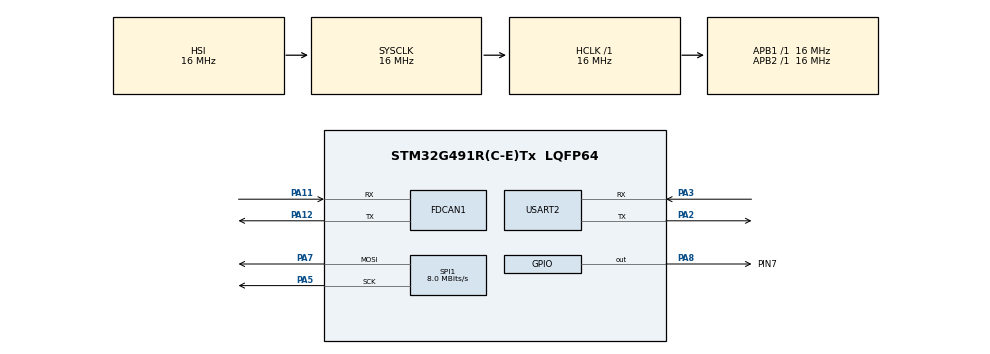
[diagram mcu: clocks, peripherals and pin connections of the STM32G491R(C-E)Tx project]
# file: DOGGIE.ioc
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FDCAN1.CalculateBaudRateNominal=250000
FDCAN1.CalculateTimeBitNominal=4000
FDCAN1.CalculateTimeQuantumNominal=250.0
FDCAN1.NominalPrescaler=4
FDCAN1.NominalTimeSeg1=13
FDCAN1.NominalTimeSeg2=2
Mcu.Family=STM32G4
Mcu.Name=STM32G491R(C-E)Tx
Mcu.Package=LQFP64
NVIC.FDCAN1_IT0_IRQn=true\:0\:0\:false\:false\:true\:true\:true\:true
NVIC.PriorityGroup=NVIC_PRIORITYGROUP_4
PA11.GPIO_PuPd=GPIO_NOPULL
PA11.Mode=FDCAN_Activate
PA11.Signal=FDCAN1_RX
PA12.Mode=FDCAN_Activate
PA12.Signal=FDCAN1_TX
PA2.Mode=Asynchronous
PA2.Signal=USART2_TX
PA3.Mode=Asynchronous
PA3.Signal=USART2_RX
PA5.Mode=TX_Only_Simplex_Unidirect_Master
PA5.Signal=SPI1_SCK
PA7.Mode=TX_Only_Simplex_Unidirect_Master
PA7.Signal=SPI1_MOSI
PA8.GPIO_Label=PIN7
PA8.PinState=GPIO_PIN_SET
PA8.Signal=GPIO_Output
ProjectManager.HeapSize=0x200
ProjectManager.StackSize=0x400
ProjectManager.TargetToolchain=STM32CubeIDE
RCC.AHBFreq_Value=16000000
RCC.APB1Freq_Value=16000000
RCC.APB1TimFreq_Value=16000000
RCC.APB2Freq_Value=16000000
RCC.APB2TimFreq_Value=16000000
RCC.CortexFreq_Value=16000000
RCC.EXTERNAL_CLOCK_VALUE=12288000
RCC.HCLKFreq_Value=16000000
RCC.HSE_VALUE=8000000
RCC.HSI48_VALUE=48000000
RCC.HSI_VALUE=16000000
RCC.LSE_VALUE=32768
RCC.SYSCLKFreq_VALUE=16000000
RCC.VCOOutputFreq_Value=128000000
SPI1.CalculateBaudRate=8.0 MBits/s
SPI1.Direction=SPI_DIRECTION_2LINES
SPI1.Mode=SPI_MODE_MASTER
SPI1.VirtualType=VM_MASTER
USART2.VirtualMode-Asynchronous=VM_ASYNC
VP_SYS_VS_DBSignals.Mode=DisableDeadBatterySignals
board=custom

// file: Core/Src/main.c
/* USER CODE BEGIN Header */
/**
  ******************************************************************************
  * @file           : main.c
  * @brief          : Main program body
  ******************************************************************************
  * @attention
  *
  * Copyright (c) 2025 STMicroelectronics.
  * All rights reserved.
  *
  * This software is licensed under terms that can be found in the LICENSE file
  * in the root directory of this software component.
  * If no LICENSE file comes with this software, it is provided AS-IS.
  *
  ******************************************************************************
  */
/* USER CODE END Header */
#include "main.h"

/* USER CODE BEGIN Includes */

#include <stdio.h>   // for printf

/* USER CODE END Includes */

FDCAN_HandleTypeDef hfdcan1;

SPI_HandleTypeDef hspi1;

UART_HandleTypeDef huart2;

/* USER CODE BEGIN PV */
uint8_t ubKeyNumber = 0x0;
uint8_t ubKeyNumberValue = 0x0;
uint8_t ubLedBlinkTime = 0x0;
FDCAN_RxHeaderTypeDef RxHeader;
uint8_t RxData[8];
FDCAN_TxHeaderTypeDef TxHeader;
uint8_t TxData[8];
uint32_t lastCANMessage = 0;
const uint32_t RATE_CHECK_WINDOW_MS = 100;
const uint32_t TIMEOUT = 5000;
uint8_t lec = 0;
uint32_t lastRateCheckTick;
uint32_t MAX_EXPECTED_MSGS = 1000;
uint32_t currentTick;
uint32_t canMessageCount = 0;
/* USER CODE END PV */

void SystemClock_Config(void);
static void MX_GPIO_Init(void);
static void MX_FDCAN1_Init(void);
static void MX_USART2_UART_Init(void);
static void MX_SPI1_Init(void);
/* USER CODE BEGIN PFP */
extern FDCAN_HandleTypeDef hfdcan1;
extern SPI_HandleTypeDef hspi1;
FDCAN_RxHeaderTypeDef rxHeader;
uint8_t rxData[8];

#define FAULT_ACK_ERROR        0xA1
#define FAULT_STUFF_ERROR      0xA2
#define FAULT_FORM_ERROR       0xA3
#define FAULT_CAN_TIMEOUT      0xA4
#define FAULT_BUS_OFF          0xA5
#define FAULT_BLABBERING_IDIOT 0xA6

/* USER CODE END PFP */

int main(void)
{

  /* MCU Configuration--------------------------------------------------------*/

  /* Reset of all peripherals, Initializes the Flash interface and the Systick. */
  HAL_Init();

  /* Configure the system clock */
  SystemClock_Config();

  /* Initialize all configured peripherals */
  MX_GPIO_Init();
  MX_FDCAN1_Init();
  MX_USART2_UART_Init();
  MX_SPI1_Init();
  /* USER CODE BEGIN 2 */
  HAL_FDCAN_Start(&hfdcan1);
  HAL_FDCAN_ActivateNotification(&hfdcan1, FDCAN_IT_RX_FIFO0_NEW_MESSAGE, 0);
  printf("UART TEST\r\n");
  static int heartbeat = 0;
  const char *msg = "HELLO FROM STM32 UART\r\n";
  lastCANMessage = HAL_GetTick();
  currentTick = HAL_GetTick();
  uint8_t lastErrorCode = 0x00;
  uint8_t errorcode = 0x00;
  /* USER CODE END 2 */

  /* Infinite loop */
  /* USER CODE BEGIN WHILE */
  while (1)
  {
	currentTick = HAL_GetTick();
	//printf("ID: 0x%03X, DLC: %lu, Data: %02X %02X %02X ...\r\n", rxHeader.Identifier,rxHeader.DataLength, rxData[0], rxData[1], rxData[2] /*...*/);
	 	  HAL_Delay(50);
	if (lastCANMessage - currentTick > TIMEOUT){
		printf("STM32 HAS TIMEOUT");
		HAL_GPIO_WritePin(GPIOA, PIN7_Pin, GPIO_PIN_SET);
	}
	else{HAL_GPIO_WritePin(GPIOA, PIN7_Pin, GPIO_PIN_RESET);}

	currentTick = HAL_GetTick();
	  uint32_t psr = hfdcan1.Instance->PSR;
	  lec = psr & 0x7;
	  //printf("LEC: 0x%02X\r\n", lec);
	  }
	  if ((hfdcan1.Instance->PSR & FDCAN_PSR_BO) != 0){
	  	    // Bus Off = severe fault (e.g., shorted lines)
	  	    //HAL_GPIO_WritePin(GPIOA, PIN7_Pin, GPIO_PIN_SET); // Indicate fault
	  	    sendSPIMessage(FAULT_BUS_OFF);
	  	    printf("short!!!");
	  }
	  if ((currentTick - lastRateCheckTick) > RATE_CHECK_WINDOW_MS) {
	      if (canMessageCount > MAX_EXPECTED_MSGS) {
	          printf("Blabbering idiot fault detected!\n");
	          //HAL_GPIO_WritePin(GPIOA, PIN7_Pin, GPIO_PIN_SET);
	          sendSPIMessage(FAULT_ACK_ERROR);
	      }
	      canMessageCount ++;
	      lastRateCheckTick = currentTick;
	  }
	  else{
		  canMessageCount = 0;
	  }
	  switch(lec){
	  	  case 0x1:
	  		  printf("Stuff error\n");
	  		  //HAL_GPIO_WritePin(GPIOA, PIN7_Pin, GPIO_PIN_SET);
	  		  sendSPIMessage(FAULT_STUFF_ERROR);
	  		  break;
	  	  case 0x2:
	  		  printf("Form error\n");
	  		 // HAL_GPIO_WritePin(GPIOA, PIN7_Pin, GPIO_PIN_SET);
	  		  sendSPIMessage(FAULT_FORM_ERROR);
	  		  break;
	  	  case 0x3:
	  		  printf("ACK error (likely no other node)\n");
	  		  //HAL_GPIO_WritePin(GPIOA, PIN8_Pin, GPIO_PIN_SET);
	  		  sendSPIMessage(FAULT_ACK_ERROR);
	  		  break;
	  }
	  HAL_Delay(5);
    /* USER CODE END WHILE */

}

void SystemClock_Config(void)
{
  RCC_OscInitTypeDef RCC_OscInitStruct = {0};
  RCC_ClkInitTypeDef RCC_ClkInitStruct = {0};

  /** Configure the main internal regulator output voltage
  */
  HAL_PWREx_ControlVoltageScaling(PWR_REGULATOR_VOLTAGE_SCALE1);

  /** Initializes the RCC Oscillators according to the specified parameters
  * in the RCC_OscInitTypeDef structure.
  */
  RCC_OscInitStruct.OscillatorType = RCC_OSCILLATORTYPE_HSI;
  RCC_OscInitStruct.HSIState = RCC_HSI_ON;
  RCC_OscInitStruct.HSICalibrationValue = RCC_HSICALIBRATION_DEFAULT;
  RCC_OscInitStruct.PLL.PLLState = RCC_PLL_NONE;
  if (HAL_RCC_OscConfig(&RCC_OscInitStruct) != HAL_OK)
  {
    Error_Handler();
  }

  /** Initializes the CPU, AHB and APB buses clocks
  */
  RCC_ClkInitStruct.ClockType = RCC_CLOCKTYPE_HCLK|RCC_CLOCKTYPE_SYSCLK
                              |RCC_CLOCKTYPE_PCLK1|RCC_CLOCKTYPE_PCLK2;
  RCC_ClkInitStruct.SYSCLKSource = RCC_SYSCLKSOURCE_HSI;
  RCC_ClkInitStruct.AHBCLKDivider = RCC_SYSCLK_DIV1;
  RCC_ClkInitStruct.APB1CLKDivider = RCC_HCLK_DIV1;
  RCC_ClkInitStruct.APB2CLKDivider = RCC_HCLK_DIV1;

  if (HAL_RCC_ClockConfig(&RCC_ClkInitStruct, FLASH_LATENCY_0) != HAL_OK)
  {
    Error_Handler();
  }
}

static void MX_FDCAN1_Init(void)
{

  hfdcan1.Instance = FDCAN1;
  hfdcan1.Init.ClockDivider = FDCAN_CLOCK_DIV1;
  hfdcan1.Init.FrameFormat = FDCAN_FRAME_CLASSIC;
  hfdcan1.Init.Mode = FDCAN_MODE_NORMAL;
  hfdcan1.Init.AutoRetransmission = DISABLE;
  hfdcan1.Init.TransmitPause = DISABLE;
  hfdcan1.Init.ProtocolException = DISABLE;
  hfdcan1.Init.NominalPrescaler = 4;
  hfdcan1.Init.NominalSyncJumpWidth = 1;
  hfdcan1.Init.NominalTimeSeg1 = 13;
  hfdcan1.Init.NominalTimeSeg2 = 2;
  hfdcan1.Init.DataPrescaler = 1;
  hfdcan1.Init.DataSyncJumpWidth = 1;
  hfdcan1.Init.DataTimeSeg1 = 1;
  hfdcan1.Init.DataTimeSeg2 = 1;
  hfdcan1.Init.StdFiltersNbr = 0;
  hfdcan1.Init.ExtFiltersNbr = 0;
  hfdcan1.Init.TxFifoQueueMode = FDCAN_TX_FIFO_OPERATION;
  if (HAL_FDCAN_Init(&hfdcan1) != HAL_OK)
  {
    Error_Handler();
  }

}

static void MX_SPI1_Init(void)
{

  /* SPI1 parameter configuration*/
  hspi1.Instance = SPI1;
  hspi1.Init.Mode = SPI_MODE_MASTER;
  hspi1.Init.Direction = SPI_DIRECTION_2LINES;
  hspi1.Init.DataSize = SPI_DATASIZE_4BIT;
  hspi1.Init.CLKPolarity = SPI_POLARITY_LOW;
  hspi1.Init.CLKPhase = SPI_PHASE_1EDGE;
  hspi1.Init.NSS = SPI_NSS_SOFT;
  hspi1.Init.BaudRatePrescaler = SPI_BAUDRATEPRESCALER_2;
  hspi1.Init.FirstBit = SPI_FIRSTBIT_MSB;
  hspi1.Init.TIMode = SPI_TIMODE_DISABLE;
  hspi1.Init.CRCCalculation = SPI_CRCCALCULATION_DISABLE;
  hspi1.Init.CRCPolynomial = 7;
  hspi1.Init.CRCLength = SPI_CRC_LENGTH_DATASIZE;
  hspi1.Init.NSSPMode = SPI_NSS_PULSE_ENABLE;
  if (HAL_SPI_Init(&hspi1) != HAL_OK)
  {
    Error_Handler();
  }

}

static void MX_USART2_UART_Init(void)
{

  huart2.Instance = USART2;
  huart2.Init.BaudRate = 115200;
  huart2.Init.WordLength = UART_WORDLENGTH_8B;
  huart2.Init.StopBits = UART_STOPBITS_1;
  huart2.Init.Parity = UART_PARITY_NONE;
  huart2.Init.Mode = UART_MODE_TX_RX;
  huart2.Init.HwFlowCtl = UART_HWCONTROL_NONE;
  huart2.Init.OverSampling = UART_OVERSAMPLING_16;
  huart2.Init.OneBitSampling = UART_ONE_BIT_SAMPLE_DISABLE;
  huart2.Init.ClockPrescaler = UART_PRESCALER_DIV1;
  huart2.AdvancedInit.AdvFeatureInit = UART_ADVFEATURE_NO_INIT;
  if (HAL_UART_Init(&huart2) != HAL_OK)
  {
    Error_Handler();
  }
  if (HAL_UARTEx_SetTxFifoThreshold(&huart2, UART_TXFIFO_THRESHOLD_1_8) != HAL_OK)
  {
    Error_Handler();
  }
  if (HAL_UARTEx_SetRxFifoThreshold(&huart2, UART_RXFIFO_THRESHOLD_1_8) != HAL_OK)
  {
    Error_Handler();
  }
  if (HAL_UARTEx_DisableFifoMode(&huart2) != HAL_OK)
  {
    Error_Handler();
  }

}

static void MX_GPIO_Init(void)
{
  GPIO_InitTypeDef GPIO_InitStruct = {0};

  /* GPIO Ports Clock Enable */
  __HAL_RCC_GPIOA_CLK_ENABLE();

  /*Configure GPIO pin Output Level */
  HAL_GPIO_WritePin(PIN7_GPIO_Port, PIN7_Pin, GPIO_PIN_RESET);

  /*Configure GPIO pin : PIN7_Pin */
  GPIO_InitStruct.Pin = PIN7_Pin;
  GPIO_InitStruct.Mode = GPIO_MODE_OUTPUT_PP;
  GPIO_InitStruct.Pull = GPIO_NOPULL;
  GPIO_InitStruct.Speed = GPIO_SPEED_FREQ_LOW;
  HAL_GPIO_Init(PIN7_GPIO_Port, &GPIO_InitStruct);

}

/* USER CODE BEGIN 4 */
void HAL_FDCAN_RxFifo0Callback(FDCAN_HandleTypeDef *hfdcan, uint32_t RxFifo0ITs)
{
    if ((RxFifo0ITs & FDCAN_IT_RX_FIFO0_NEW_MESSAGE) != RESET)
    {
        HAL_FDCAN_GetRxMessage(hfdcan, FDCAN_RX_FIFO0, &rxHeader, rxData);
        //printf("Received CAN msg: ID=0x%03lX, DLC=%lu\r\n", rxHeader.Identifier, rxHeader.DataLength);
        lastCANMessage = HAL_GetTick();
        for (int i = 0; i < rxHeader.DataLength; i++) {
            //printf("Data[%d] = 0x%02X\r\n", i, rxData[i]);
        	break;
        }
        printf("----\r\n");
    }
}

int __io_putchar(int ch)
{
    HAL_UART_Transmit(&huart2, (uint8_t *)&ch, 1, HAL_MAX_DELAY);
    return ch;
}

/* USER CODE END 4 */

void Error_Handler(void)
{
  __disable_irq();
  while (1)
  {
  }
}
